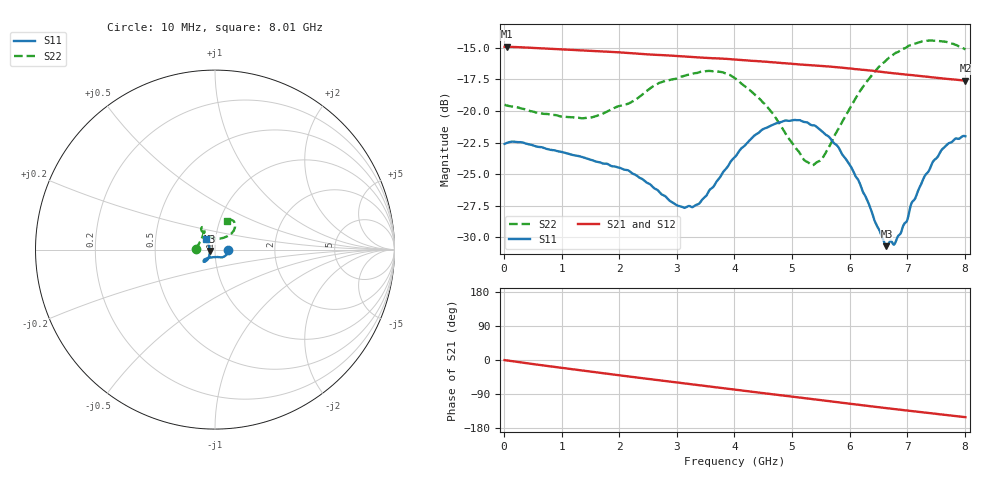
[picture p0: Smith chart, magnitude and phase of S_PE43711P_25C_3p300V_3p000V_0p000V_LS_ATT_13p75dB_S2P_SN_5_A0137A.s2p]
! Device ID: PE43711P
! File Path: z:\PE43711P\CHAR_NOM_04282014\AMB\3p300\LS_ATT_13p75dB\PE43711P_AMB_3p300V_3p000V_0p000V_LS_ATT_13p75dB_S2P_SN_5_A0137A.s2p
! Serial: 5
! Lot: A0137A
! Temp: 25C
! VDD: 3.300
! VSS: 0.000
! Control_Hi: 3.000
! Control_Lo: 0.000
! Attenuation Step: 13.75dB
! Port 1: RF1
! Port 2: RF2
! ThroughPath:1-2
! IDD: 0.0001280814
! ISS: -2.092e-007
#  Hz  S  RI  R  50
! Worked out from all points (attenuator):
!   801 points, 10 MHz to 8.01 GHz, reference 50 ohm
!   highest |S21| = -14.91 dB at 50 MHz (marker M1); lowest = -17.6 dB at 8.01 GHz (marker M2)
!   lowest |S11| = -30.7 dB at 6.64 GHz (marker M3), VSWR 1.06, Z = 47.2 - j0.696 ohm
!   |S11| at or under -10 dB: start of sweep to end of sweep
!   |S22| runs from -24.3 to -14.4 dB; largest |S21 - S12| = 0.00033
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1e7  0.0742 -5.46e-05  0.1796 -0.000843  0.1799 -0.0009  -0.106 0.00084
5e7  0.0748 -0.00126  0.1796 -0.00355  0.1798 -0.00354  -0.1052 0.00285
1.35e9  0.0543 -0.0371  0.1543 -0.0805  0.1544 -0.0806  -0.0812 0.0467
2.15e9  0.0384 -0.0439  0.1238 -0.1163  0.1239 -0.1163  -0.064 0.0856
2.68e9  0.0235 -0.0422  0.1 -0.1335  0.1 -0.1335  -0.0611 0.1134
3.01e9  0.00942 -0.0412  0.084 -0.1422  0.0841 -0.1423  -0.0627 0.1195
3.3e9  -0.00521 -0.0417  0.0694 -0.148  0.0695 -0.148  -0.0665 0.1244
3.69e9  -0.028 -0.0445  0.0497 -0.1537  0.0497 -0.1537  -0.0744 0.123
4.01e9  -0.0448 -0.0483  0.0327 -0.1566  0.0327 -0.1567  -0.0768 0.1108
4.34e9  -0.0581 -0.0547  0.0155 -0.1572  0.0155 -0.1573  -0.0666 0.0962
4.69e9  -0.0636 -0.0619  -0.00248 -0.1558  -0.00256 -0.1558  -0.0506 0.0815
5.19e9  -0.0601 -0.0681  -0.0269 -0.1503  -0.0269 -0.1503  -0.012 0.0638
5.35e9  -0.0571 -0.0668  -0.0344 -0.1478  -0.0344 -0.148  0.0043 0.0609
5.55e9  -0.0509 -0.0642  -0.0436 -0.1442  -0.0436 -0.1443  0.0257 0.0611
6.01e9  -0.0371 -0.0483  -0.0633 -0.1331  -0.0635 -0.1331  0.0709 0.0751
6.64e9  -0.0283 -0.00736  -0.0856 -0.1135  -0.0857 -0.1137  0.1089 0.1161
6.68e9  -0.0297 -0.00392  -0.0868 -0.1123  -0.0868 -0.1124  0.1096 0.1197
6.87e9  -0.0313 0.00867  -0.0922 -0.1057  -0.0922 -0.1059  0.1122 0.1321
7.09e9  -0.0363 0.0245  -0.098 -0.0982  -0.098 -0.0982  0.11 0.1463
7.46e9  -0.0438 0.0462  -0.1063 -0.0846  -0.1063 -0.0847  0.0962 0.1639
7.7e9  -0.0489 0.0555  -0.1106 -0.0757  -0.1106 -0.0756  0.0825 0.1682
8.01e9  -0.0504 0.0615  -0.1153 -0.0642  -0.1155 -0.064  0.0677 0.1617
